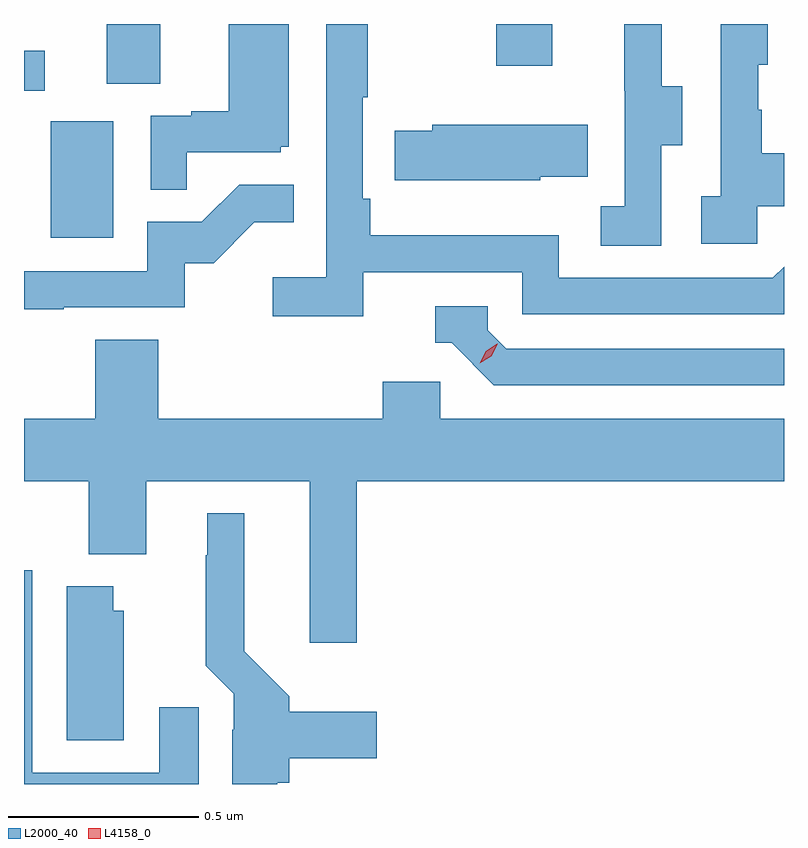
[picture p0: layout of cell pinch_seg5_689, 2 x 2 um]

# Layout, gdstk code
import gdstk
lib = gdstk.Library(unit=1e-6, precision=1e-09)
def R(c, l, rs):  # rectangles x0, y0, x1, y1
    for r in rs: c.add(gdstk.rectangle(r[:2], r[2:], *l))
def P(c, l, *ps):  # polygons
    for p in ps: c.add(gdstk.Polygon(p, *l))
L2000_40 = (2000, 40)
L4158_0 = (4158, 0)

pinch_seg5_689 = lib.new_cell('pinch_seg5_689')
R(pinch_seg5_689, L2000_40, [(1129.022,850.74,1129.186,851.047), (1128.951,851.127,1129.006,851.233), (1129.169,851.146,1129.309,851.303), (1130.194,851.193,1130.341,851.303)])
P(pinch_seg5_689, L2000_40, [(1130.88,850.823),(1130.951,850.823),(1130.951,850.963),(1130.893,850.963),(1130.893,851.078),(1130.883,851.078),(1130.883,851.196),(1130.908,851.196),(1130.908,851.303),(1130.784,851.303),(1130.784,850.85),(1130.733,850.85),(1130.733,850.725),(1130.88,850.725)],
  [(1130.628,850.984),(1130.683,850.984),(1130.683,851.139),(1130.629,851.139),(1130.629,851.303),(1130.531,851.303),(1130.531,851.127),(1130.532,851.127),(1130.532,850.823),(1130.469,850.823),(1130.469,850.72),(1130.628,850.72)],
  [(1129.844,850.65),(1130.262,850.65),(1130.262,850.539),(1130.951,850.539),(1130.951,850.664),(1130.922,850.635),(1130.358,850.635),(1130.358,850.747),(1129.862,850.747),(1129.862,850.843),(1129.842,850.843),(1129.842,851.11),(1129.855,851.11),(1129.855,851.303),(1129.746,851.303),(1129.746,850.636),(1129.605,850.636),(1129.605,850.534),(1129.844,850.534)],
  [(1129.379,850.965),(1129.626,850.965),(1129.626,850.98),(1129.648,850.98),(1129.648,851.303),(1129.49,851.303),(1129.49,851.074),(1129.391,851.074),(1129.391,851.061),(1129.284,851.061),(1129.284,850.867),(1129.379,850.867)],
  [(1130.31,850.901),(1130.435,850.901),(1130.435,851.038),(1130.025,851.038),(1130.025,851.022),(1129.927,851.022),(1129.927,850.892),(1130.31,850.892)],
  [(1129.055,850.557),(1129.374,850.557),(1129.374,850.674),(1129.45,850.674),(1129.557,850.781),(1129.661,850.781),(1129.661,850.88),(1129.517,850.88),(1129.419,850.782),(1129.275,850.782),(1129.275,850.653),(1128.951,850.653),(1128.951,850.552),(1129.055,850.552)],
  [(1130.951,850.449),(1130.22,850.449),(1130.172,850.497),(1130.172,850.56),(1130.033,850.56),(1130.033,850.464),(1130.076,850.464),(1130.187,850.353),(1130.951,850.353)],
  [(1129.826,850.1),(1130.951,850.1),(1130.951,850.264),(1130.046,850.264),(1130.046,850.362),(1129.895,850.362),(1129.895,850.264),(1129.304,850.264),(1129.304,850.472),(1129.139,850.472),(1129.139,850.264),(1128.951,850.264),(1128.951,850.1),(1129.121,850.1),(1129.121,849.908),(1129.273,849.908),(1129.273,850.1),(1129.703,850.1),(1129.703,849.675),(1129.826,849.675)],
  [(1129.618,849.306),(1129.649,849.306),(1129.649,849.371),(1129.879,849.371),(1129.879,849.493),(1129.649,849.493),(1129.649,849.534),(1129.531,849.652),(1129.531,850.015),(1129.433,850.015),(1129.433,849.905),(1129.429,849.905),(1129.429,849.614),(1129.503,849.54),(1129.503,849.446),(1129.499,849.446),(1129.499,849.303),(1129.618,849.303)],
  [(1129.411,849.505),(1129.307,849.505),(1129.307,849.333),(1128.973,849.333),(1128.973,849.865),(1128.951,849.865),(1128.951,849.303),(1129.411,849.303)],
  [(1129.213,849.759),(1129.186,849.759),(1129.186,849.823),(1129.064,849.823),(1129.064,849.418),(1129.213,849.418)])
P(pinch_seg5_689, L4158_0, [(1130.15,850.41),(1130.15,850.41),(1130.166,850.442),(1130.197,850.462),(1130.198,850.462),(1130.198,850.462),(1130.181,850.429),(1130.15,850.41)])

lib.write_gds('pinch_seg5_689.gds')
